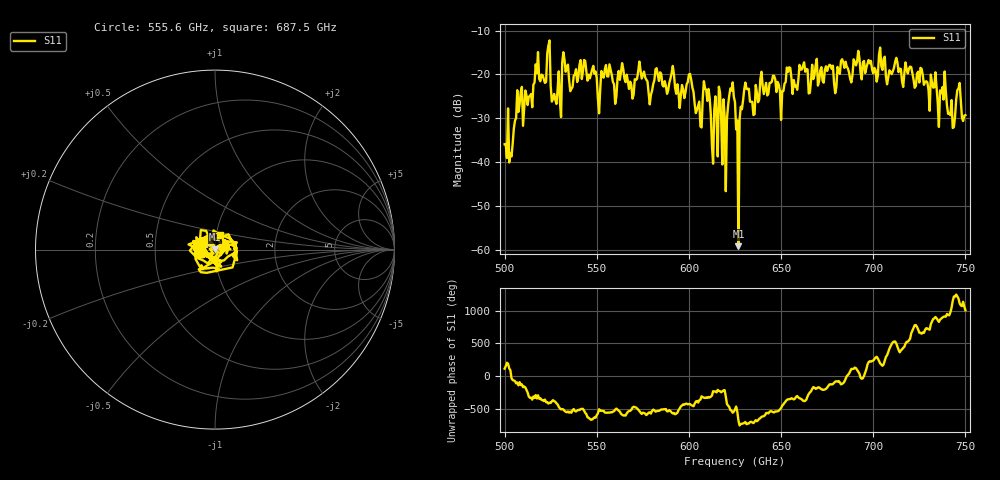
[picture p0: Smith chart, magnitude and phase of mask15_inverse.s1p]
!Created with skrf (http://scikit-rf.org).
# GHz S MA R 50.0
!freq magS11 angS11
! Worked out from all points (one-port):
!   401 points, 500 GHz to 750 GHz, reference 50 ohm
!   lowest |S11| = -59.2 dB at 626.9 GHz (marker M1), VSWR 1.00, Z = 50.1 + j0.0656 ohm
!   |S11| at or under -10 dB: start of sweep to end of sweep
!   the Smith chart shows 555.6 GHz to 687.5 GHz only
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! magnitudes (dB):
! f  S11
! 500 GHz  -35.9
! 503.8 GHz  -38.7
! 508.1 GHz  -26.8
! 513.8 GHz  -24.9
! 516.9 GHz  -17.7
! 523.8 GHz  -13.4
! 526.9 GHz  -24.5
! 531.2 GHz  -17.3
! 562.5 GHz  -21.3
! 593.8 GHz  -22.3
! 600.6 GHz  -19.9
! 605.6 GHz  -26.2
! 609.4 GHz  -23.5
! 612.5 GHz  -36.3
! 617.5 GHz  -30.2
! 618.8 GHz  -25.7
! 622.5 GHz  -23.2
! 625 GHz  -26.3
! 625.6 GHz  -32.6
! 626.9 GHz  -59.2
! 631.2 GHz  -23.3
! 634.4 GHz  -26.3
! 656.2 GHz  -24.5
! 687.5 GHz  -21.0
! 718.8 GHz  -19.8
! 743.1 GHz  -32.2
! 746.2 GHz  -23.2
! 750 GHz  -29.3
